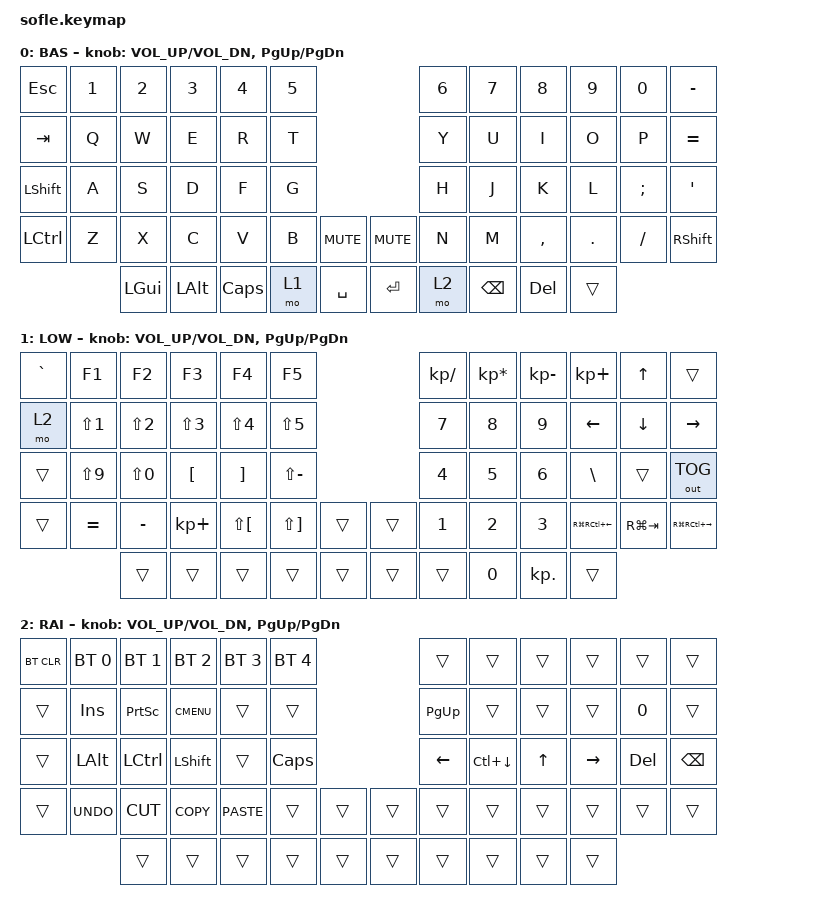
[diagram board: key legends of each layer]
/*
 * Copyright (c) 2020 The ZMK Contributors
 *
 * SPDX-License-Identifier: MIT
 */

#include <behaviors.dtsi>
#include <dt-bindings/zmk/bt.h>
#include <dt-bindings/zmk/outputs.h>
#include <dt-bindings/zmk/keys.h>

/ {
    keymap {
        compatible = "zmk,keymap";

        default_layer {
            display-name = "BAS";

            bindings = <
&kp ESC    &kp N1  &kp N2    &kp N3    &kp N4     &kp N5                            &kp N6  &kp N7         &kp N8     &kp N9    &kp N0    &kp MINUS
&kp TAB    &kp Q   &kp W     &kp E     &kp R      &kp T                             &kp Y   &kp U          &kp I      &kp O     &kp P     &kp EQUAL
&kp LSHFT  &kp A   &kp S     &kp D     &kp F      &kp G                             &kp H   &kp J          &kp K      &kp L     &kp SEMI  &kp SQT
&kp LCTRL  &kp Z   &kp X     &kp C     &kp V      &kp B   &kp C_MUTE    &kp C_MUTE  &kp N   &kp M          &kp COMMA  &kp DOT   &kp FSLH  &kp RSHFT
                   &kp LGUI  &kp LALT  &kp CAPSLOCK &mo 1  &kp SPACE     &kp ENTER   &mo 2   &kp BACKSPACE  &kp DEL    &trans
            >;

            sensor-bindings = <&inc_dec_kp C_VOL_UP C_VOL_DN &inc_dec_kp PG_UP PG_DN>;
        };

        lower_layer {
            display-name = "LOW";

            bindings = <
&kp GRAVE  &kp F1     &kp F2     &kp F3     &kp F4     &kp F5                         &kp KP_DIVIDE  &kp KP_MULTIPLY  &kp KP_MINUS  &kp KP_PLUS    &kp UP          &trans
&mo 2      &kp LS(N1) &kp LS(N2) &kp LS(N3) &kp LS(N4) &kp LS(N5)                    &kp N7         &kp N8           &kp N9        &kp LEFT       &kp DOWN        &kp RIGHT
&trans     &kp LS(N9) &kp LS(N0) &kp LBKT   &kp RBKT   &kp LS(MINUS)                 &kp N4         &kp N5           &kp N6        &kp BSLH       &trans          &out OUT_TOG
&trans     &kp EQUAL  &kp MINUS  &kp KP_PLUS &kp LS(LBKT) &kp LS(RBKT) &trans &trans  &kp N1         &kp N2           &kp N3        &kp RG(RC(LEFT)) &kp RG(TAB)    &kp RG(RC(RIGHT))
                      &trans     &trans      &trans     &trans         &trans &trans &trans         &kp N0           &kp KP_DOT    &trans
            >;

            sensor-bindings = <&inc_dec_kp C_VOL_UP C_VOL_DN &inc_dec_kp PG_UP PG_DN>;
        };

        raise_layer {
            display-name = "RAI";

            bindings = <
&bt BT_CLR  &bt BT_SEL 0  &bt BT_SEL 1  &bt BT_SEL 2  &bt BT_SEL 3  &bt BT_SEL 4                    &trans     &trans    &trans  &trans     &trans   &trans
&trans      &kp INS       &kp PSCRN     &kp K_CMENU   &trans        &trans                          &kp PG_UP  &trans    &trans  &trans     &kp N0   &trans
&trans      &kp LALT      &kp LCTRL     &kp LSHFT     &trans        &kp CLCK                        &kp LEFT   &kp LC(DOWN) &kp UP  &kp RIGHT  &kp DEL  &kp BSPC
&trans      &kp K_UNDO    &kp K_CUT     &kp K_COPY    &kp K_PASTE   &trans        &trans    &trans  &trans     &trans    &trans  &trans     &trans   &trans
                          &trans        &trans        &trans        &trans        &trans    &trans  &trans     &trans    &trans  &trans
            >;

            sensor-bindings = <&inc_dec_kp C_VOL_UP C_VOL_DN &inc_dec_kp PG_UP PG_DN>;
        };
    };
};
